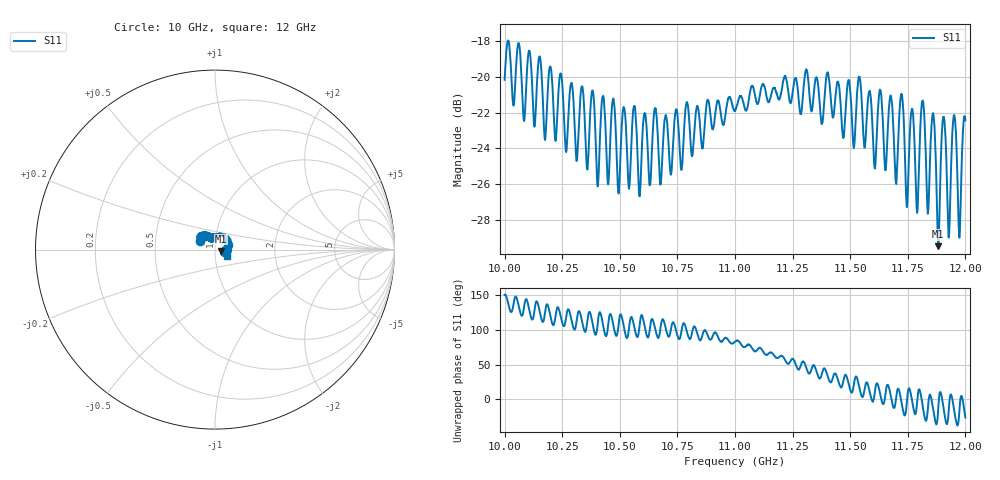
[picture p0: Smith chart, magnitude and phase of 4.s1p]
[Version] 2.0
! Rohde & Schwarz Vector Network Analyzer
! Rohde-Schwarz,ZNL20-2Port,1323001220200009,1.71.1.10-23.02.1.238
! Port Assignments:
! Nominal Port -> Actual Test Port
!  1 -> 1
! Created: GMT 2024-09-04 11:58:51
# Hz S DB R 50
[Number of Ports] 1
! freq[Hz]  S11[mag dB]  S11[ang]
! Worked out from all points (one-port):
!   2001 points, 10 GHz to 12 GHz, reference 50 ohm
!   lowest |S11| = -29.5 dB at 11.88 GHz (marker M1), VSWR 1.07, Z = 53.4 - j0.866 ohm
!   |S11| at or under -10 dB: start of sweep to end of sweep
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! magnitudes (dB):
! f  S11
! 10 GHz  -20.2
! 10.25 GHz  -20.4
! 10.36 GHz  -25.2
! 10.38 GHz  -20.8
! 10.4 GHz  -26.1
! 10.47 GHz  -21.2
! 10.5 GHz  -25.4
! 10.52 GHz  -21.7
! 10.75 GHz  -22.1
! 11 GHz  -21.9
! 11.25 GHz  -20.9
! 11.5 GHz  -20.7
! 11.61 GHz  -25.1
! 11.68 GHz  -21.0
! 11.7 GHz  -26.0
! 11.72 GHz  -21.0
! 11.75 GHz  -26.5
! 11.77 GHz  -21.8
! 11.79 GHz  -27.5
! 11.81 GHz  -21.3
! 11.84 GHz  -27.6
! 11.86 GHz  -22.2
! 11.88 GHz  -29.5
! 11.9 GHz  -22.3
! 11.93 GHz  -29.0
! 11.95 GHz  -22.2
! 11.97 GHz  -29.0
! 12 GHz  -22.4
